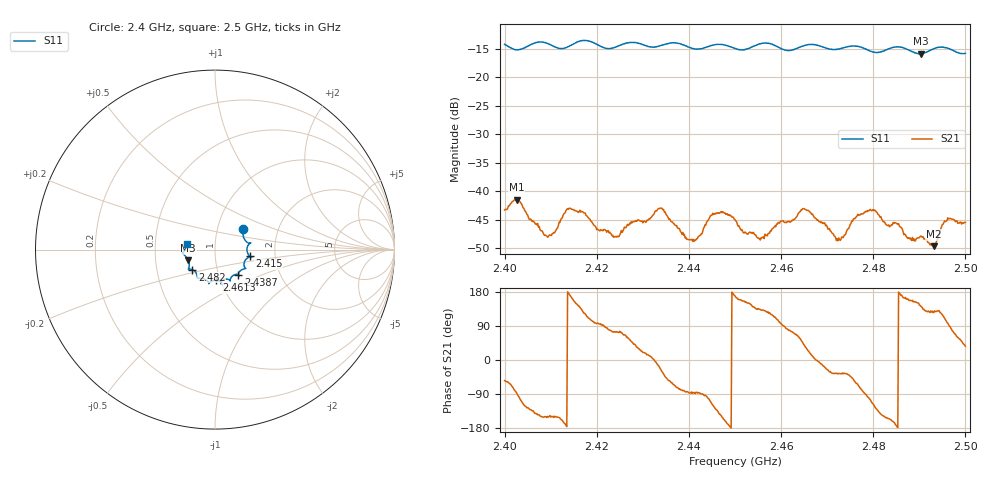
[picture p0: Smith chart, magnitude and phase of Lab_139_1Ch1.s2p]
# Hz S RI R 50
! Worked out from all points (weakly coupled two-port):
!   601 points, 2.4 GHz to 2.5 GHz, reference 50 ohm
!   highest |S21| = -41.44 dB at 2.4027 GHz (marker M1); lowest = -49.6 dB at 2.4932 GHz (marker M2)
!   lowest |S11| = -15.9 dB at 2.4903 GHz (marker M3), VSWR 1.38, Z = 36.8 - j4.42 ohm
!   |S11| at or under -10 dB: start of sweep to end of sweep
!   S12 and S22 are empty: the file has one direction only
!   S11 on the Smith chart (normalised r, x): 2.4 GHz: 1.33, +0.31; 2.415 GHz: 1.47, -0.11; 2.4387 GHz: 1.24, -0.36; 2.4613 GHz: 0.96, -0.34; 2.482 GHz: 0.76, -0.17; 2.5 GHz: 0.73, +0.05
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2.4e9  0.1579 0.1124  0.004 -0.00558  0 0  0 0
2.402667e9  0.1597 0.0674  0.000233 -0.00847  0 0  0 0
2.409e9  0.196 0.0365  -0.00356 -0.00205  0 0  0 0
2.415e9  0.1926 -0.0365  -0.00634 0.00277  0 0  0 0
2.416667e9  0.2038 -0.0441  -0.00466 0.00479  0 0  0 0
2.424167e9  0.1617 -0.0873  0.00116 0.00386  0 0  0 0
2.433333e9  0.1319 -0.1314  0.00685 -0.00164  0 0  0 0
2.438667e9  0.1307 -0.1411  0.000685 -0.00431  0 0  0 0
2.441333e9  0.1063 -0.1408  6.94e-05 -0.00374  0 0  0 0
2.445667e9  0.0834 -0.1735  -0.00383 -0.00504  0 0  0 0
2.45e9  0.0688 -0.1646  -0.00556 0.00107  0 0  0 0
2.455333e9  0.0348 -0.1923  -0.00263 0.00275  0 0  0 0
2.461333e9  0.00781 -0.171  0.000792 0.00535  0 0  0 0
2.466667e9  -0.0346 -0.1904  0.00615 0.00128  0 0  0 0
2.4725e9  -0.0724 -0.1603  0.00317 -0.00229  0 0  0 0
2.478833e9  -0.1007 -0.1404  -0.000918 -0.00673  0 0  0 0
2.482e9  -0.1262 -0.111  -0.00466 -0.00308  0 0  0 0
2.483333e9  -0.1397 -0.1084  -0.00459 -0.00219  0 0  0 0
2.490333e9  -0.1491 -0.0586  -0.00321 0.00249  0 0  0 0
2.493167e9  -0.1759 -0.0254  -0.00193 0.00269  0 0  0 0
2.496e9  -0.1794 -0.0172  -0.000883 0.00546  0 0  0 0
2.5e9  -0.1584 0.0327  0.00431 0.00317  0 0  0 0
